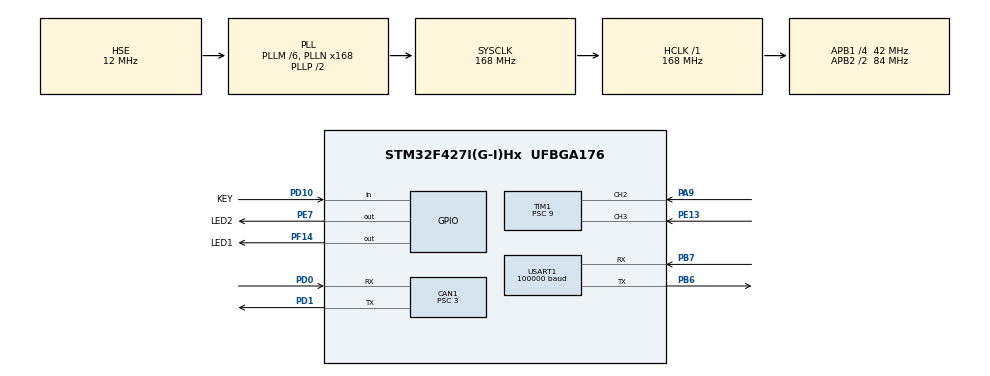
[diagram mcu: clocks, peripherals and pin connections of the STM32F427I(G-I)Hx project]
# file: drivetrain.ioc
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<<<<<<< HEAD
CAN1.ABOM=ENABLE
CAN1.BS1=CAN_BS1_9TQ
CAN1.BS2=CAN_BS2_4TQ
CAN1.CalculateBaudRate=1000000
CAN1.CalculateTimeBit=1000
CAN1.CalculateTimeQuantum=71.42857142857143
CAN1.Prescaler=3
CAN1.SJW=CAN_SJW_1TQ
Dma.Request0=USART1_RX
Dma.Request1=TIM1_CH1/CH2/CH3
Dma.TIM1_CH1/CH2/CH3.1.Direction=DMA_PERIPH_TO_MEMORY
Dma.TIM1_CH1/CH2/CH3.1.FIFOMode=DMA_FIFOMODE_DISABLE
Dma.TIM1_CH1/CH2/CH3.1.Instance=DMA2_Stream6
Dma.TIM1_CH1/CH2/CH3.1.MemDataAlignment=DMA_MDATAALIGN_HALFWORD
Dma.TIM1_CH1/CH2/CH3.1.MemInc=DMA_MINC_ENABLE
Dma.TIM1_CH1/CH2/CH3.1.Mode=DMA_CIRCULAR
Dma.TIM1_CH1/CH2/CH3.1.PeriphDataAlignment=DMA_PDATAALIGN_HALFWORD
Dma.TIM1_CH1/CH2/CH3.1.PeriphInc=DMA_PINC_DISABLE
Dma.TIM1_CH1/CH2/CH3.1.Priority=DMA_PRIORITY_LOW
Dma.USART1_RX.0.Direction=DMA_PERIPH_TO_MEMORY
Dma.USART1_RX.0.FIFOMode=DMA_FIFOMODE_DISABLE
Dma.USART1_RX.0.Instance=DMA2_Stream2
Dma.USART1_RX.0.MemDataAlignment=DMA_MDATAALIGN_BYTE
Dma.USART1_RX.0.MemInc=DMA_MINC_ENABLE
Dma.USART1_RX.0.Mode=DMA_NORMAL
Dma.USART1_RX.0.PeriphDataAlignment=DMA_PDATAALIGN_BYTE
Dma.USART1_RX.0.PeriphInc=DMA_PINC_DISABLE
Dma.USART1_RX.0.Priority=DMA_PRIORITY_LOW
Mcu.Family=STM32F4
Mcu.Name=STM32F427I(G-I)Hx
Mcu.Package=UFBGA176
NVIC.CAN1_RX0_IRQn=true\:0\:0\:false\:false\:true\:true\:true\:true
NVIC.CAN1_TX_IRQn=true\:0\:0\:false\:false\:true\:true\:true\:true
NVIC.DMA2_Stream2_IRQn=true\:0\:0\:false\:false\:true\:true\:true\:true
NVIC.DMA2_Stream6_IRQn=true\:0\:0\:false\:false\:true\:false\:true\:true
NVIC.PriorityGroup=NVIC_PRIORITYGROUP_4
NVIC.TIM6_DAC_IRQn=true\:0\:0\:false\:false\:true\:true\:true\:true
NVIC.TimeBase=TIM6_DAC_IRQn
NVIC.TimeBaseIP=TIM6
NVIC.USART1_IRQn=true\:0\:0\:false\:false\:true\:true\:true\:true
PA13.Mode=Serial_Wire
PA13.Signal=SYS_JTMS-SWDIO
PA14.Mode=Serial_Wire
PA14.Signal=SYS_JTCK-SWCLK
PA9.Signal=S_TIM1_CH2
PB6.Mode=Asynchronous
PB6.Signal=USART1_TX
PB7.Mode=Asynchronous
PB7.Signal=USART1_RX
PD0.Mode=CAN_Activate
PD0.Signal=CAN1_RX
PD1.Mode=CAN_Activate
PD1.Signal=CAN1_TX
PD10.GPIO_Label=KEY
PD10.Signal=GPIO_Input
PE13.Signal=S_TIM1_CH3
PE7.GPIO_Label=LED2
PE7.Signal=GPIO_Output
PF14.GPIO_Label=LED1
PF14.Signal=GPIO_Output
PH0/OSC_IN.Mode=HSE-External-Oscillator
PH0/OSC_IN.Signal=RCC_OSC_IN
PH1/OSC_OUT.Mode=HSE-External-Oscillator
PH1/OSC_OUT.Signal=RCC_OSC_OUT
ProjectManager.HeapSize=0x200
ProjectManager.StackSize=0x400
ProjectManager.TargetToolchain=STM32CubeIDE
RCC.48MHZClocksFreq_Value=84000000
RCC.AHBFreq_Value=168000000
RCC.APB1CLKDivider=RCC_HCLK_DIV4
RCC.APB1Freq_Value=42000000
RCC.APB1TimFreq_Value=84000000
RCC.APB2CLKDivider=RCC_HCLK_DIV2
RCC.APB2Freq_Value=84000000
RCC.APB2TimFreq_Value=168000000
RCC.CortexFreq_Value=168000000
RCC.HCLKFreq_Value=168000000
RCC.HSE_VALUE=12000000
RCC.HSI_VALUE=16000000
RCC.LSE_VALUE=32768
RCC.PLLM=6
RCC.PLLN=168
RCC.PLLSourceVirtual=RCC_PLLSOURCE_HSE
RCC.SYSCLKFreq_VALUE=168000000
RCC.SYSCLKSource=RCC_SYSCLKSOURCE_PLLCLK
RCC.VCOOutputFreq_Value=336000000
SH.S_TIM1_CH2.0=TIM1_CH2,Input_Capture2_from_TI2
SH.S_TIM1_CH2.1=TIM1_CH2,Input_Capture1_from_TI2
SH.S_TIM1_CH3.0=TIM1_CH3,Input_Capture3_from_TI3
SH.S_TIM1_CH3.1=TIM1_CH3,Input_Capture4_from_TI3
TIM1.Channel-Input_Capture1_from_TI2=TIM_CHANNEL_1
TIM1.Channel-Input_Capture2_from_TI2=TIM_CHANNEL_2
TIM1.Channel-Input_Capture3_from_TI3=TIM_CHANNEL_3
TIM1.Channel-Input_Capture4_from_TI3=TIM_CHANNEL_4
TIM1.ICPolarity_CH2=TIM_INPUTCHANNELPOLARITY_BOTHEDGE
TIM1.Period=9999
TIM1.Prescaler=9
USART1.BaudRate=100000
USART1.Parity=PARITY_EVEN
USART1.VirtualMode=VM_ASYNC
VP_SYS_VS_tim6.Mode=TIM6
board=demo
=======
CAN1.ABOM=ENABLE
CAN1.BS1=CAN_BS1_9TQ
CAN1.BS2=CAN_BS2_4TQ
CAN1.CalculateBaudRate=1000000
CAN1.CalculateTimeBit=1000
CAN1.CalculateTimeQuantum=71.42857142857143
CAN1.Prescaler=3
CAN1.SJW=CAN_SJW_1TQ
Dma.Request0=USART1_RX
Dma.Request1=TIM1_CH1/CH2/CH3
Dma.TIM1_CH1/CH2/CH3.1.Direction=DMA_PERIPH_TO_MEMORY
Dma.TIM1_CH1/CH2/CH3.1.FIFOMode=DMA_FIFOMODE_DISABLE
Dma.TIM1_CH1/CH2/CH3.1.Instance=DMA2_Stream6
Dma.TIM1_CH1/CH2/CH3.1.MemDataAlignment=DMA_MDATAALIGN_HALFWORD
Dma.TIM1_CH1/CH2/CH3.1.MemInc=DMA_MINC_ENABLE
Dma.TIM1_CH1/CH2/CH3.1.Mode=DMA_CIRCULAR
Dma.TIM1_CH1/CH2/CH3.1.PeriphDataAlignment=DMA_PDATAALIGN_HALFWORD
Dma.TIM1_CH1/CH2/CH3.1.PeriphInc=DMA_PINC_DISABLE
Dma.TIM1_CH1/CH2/CH3.1.Priority=DMA_PRIORITY_LOW
Dma.USART1_RX.0.Direction=DMA_PERIPH_TO_MEMORY
Dma.USART1_RX.0.FIFOMode=DMA_FIFOMODE_DISABLE
Dma.USART1_RX.0.Instance=DMA2_Stream2
Dma.USART1_RX.0.MemDataAlignment=DMA_MDATAALIGN_BYTE
Dma.USART1_RX.0.MemInc=DMA_MINC_ENABLE
Dma.USART1_RX.0.Mode=DMA_NORMAL
Dma.USART1_RX.0.PeriphDataAlignment=DMA_PDATAALIGN_BYTE
Dma.USART1_RX.0.PeriphInc=DMA_PINC_DISABLE
Dma.USART1_RX.0.Priority=DMA_PRIORITY_LOW
Mcu.Family=STM32F4
Mcu.Name=STM32F427I(G-I)Hx
Mcu.Package=UFBGA176
NVIC.CAN1_RX0_IRQn=true\:0\:0\:false\:false\:true\:true\:true\:true
NVIC.CAN1_TX_IRQn=true\:0\:0\:false\:false\:true\:true\:true\:true
NVIC.DMA2_Stream2_IRQn=true\:0\:0\:false\:false\:true\:true\:true\:true
NVIC.DMA2_Stream6_IRQn=true\:0\:0\:false\:false\:true\:false\:true\:true
NVIC.PriorityGroup=NVIC_PRIORITYGROUP_4
NVIC.TIM6_DAC_IRQn=true\:0\:0\:false\:false\:true\:true\:true\:true
NVIC.TimeBase=TIM6_DAC_IRQn
NVIC.TimeBaseIP=TIM6
NVIC.USART1_IRQn=true\:0\:0\:false\:false\:true\:true\:true\:true
PA13.Mode=Serial_Wire
PA13.Signal=SYS_JTMS-SWDIO
PA14.Mode=Serial_Wire
PA14.Signal=SYS_JTCK-SWCLK
PA9.Signal=S_TIM1_CH2
PB6.Mode=Asynchronous
PB6.Signal=USART1_TX
PB7.Mode=Asynchronous
PB7.Signal=USART1_RX
PD0.Mode=CAN_Activate
PD0.Signal=CAN1_RX
PD1.Mode=CAN_Activate
PD1.Signal=CAN1_TX
PD10.GPIO_Label=KEY
PD10.Signal=GPIO_Input
PE13.Signal=S_TIM1_CH3
PE7.GPIO_Label=LED2
PE7.Signal=GPIO_Output
PF14.GPIO_Label=LED1
PF14.Signal=GPIO_Output
PH0/OSC_IN.Mode=HSE-External-Oscillator
PH0/OSC_IN.Signal=RCC_OSC_IN
PH1/OSC_OUT.Mode=HSE-External-Oscillator
PH1/OSC_OUT.Signal=RCC_OSC_OUT
ProjectManager.HeapSize=0x200
ProjectManager.StackSize=0x400
ProjectManager.TargetToolchain=STM32CubeIDE
RCC.48MHZClocksFreq_Value=84000000
RCC.AHBFreq_Value=168000000
RCC.APB1CLKDivider=RCC_HCLK_DIV4
RCC.APB1Freq_Value=42000000
RCC.APB1TimFreq_Value=84000000
RCC.APB2CLKDivider=RCC_HCLK_DIV2
RCC.APB2Freq_Value=84000000
RCC.APB2TimFreq_Value=168000000
RCC.CortexFreq_Value=168000000
RCC.HCLKFreq_Value=168000000
RCC.HSE_VALUE=12000000
RCC.HSI_VALUE=16000000
RCC.LSE_VALUE=32768
RCC.PLLM=6
RCC.PLLN=168
RCC.PLLSourceVirtual=RCC_PLLSOURCE_HSE
RCC.SYSCLKFreq_VALUE=168000000
RCC.SYSCLKSource=RCC_SYSCLKSOURCE_PLLCLK
RCC.VCOOutputFreq_Value=336000000
SH.S_TIM1_CH2.0=TIM1_CH2,Input_Capture2_from_TI2
SH.S_TIM1_CH2.1=TIM1_CH2,Input_Capture1_from_TI2
SH.S_TIM1_CH3.0=TIM1_CH3,Input_Capture3_from_TI3
SH.S_TIM1_CH3.1=TIM1_CH3,Input_Capture4_from_TI3
TIM1.Channel-Input_Capture1_from_TI2=TIM_CHANNEL_1
TIM1.Channel-Input_Capture2_from_TI2=TIM_CHANNEL_2
TIM1.Channel-Input_Capture3_from_TI3=TIM_CHANNEL_3
TIM1.Channel-Input_Capture4_from_TI3=TIM_CHANNEL_4
TIM1.ICPolarity_CH2=TIM_INPUTCHANNELPOLARITY_BOTHEDGE
TIM1.Period=9999
TIM1.Prescaler=9
USART1.BaudRate=100000
USART1.Parity=PARITY_EVEN
USART1.VirtualMode=VM_ASYNC
VP_SYS_VS_tim6.Mode=TIM6
board=demo
>>>>>>> a7ea5d2464253c82df36c7748f10e598f83178ba

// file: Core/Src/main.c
/* USER CODE BEGIN Header */
/**
  ******************************************************************************
  * @file           : main.c
  * @brief          : Main program body
  ******************************************************************************
  * @attention
  *
  * Copyright (c) 2023 STMicroelectronics.
  * All rights reserved.
  *
  * This software is licensed under terms that can be found in the LICENSE file
  * in the root directory of this software component.
  * If no LICENSE file comes with this software, it is provided AS-IS.
  *
  ******************************************************************************
  */
/* USER CODE END Header */
#include "main.h"
#include "can.h"
#include "dma.h"
#include "tim.h"
#include "usart.h"
#include "gpio.h"

/* USER CODE BEGIN PV */
CAN_TxHeaderTypeDef TxHeader;
CAN_RxHeaderTypeDef RxHeader;

uint32_t TxMailbox;

uint8_t TxData[8];
uint8_t RxData[8];

int datacheck = 0;
/* USER CODE END PV */

void SystemClock_Config(void);

/* USER CODE BEGIN 0 */

void HAL_CAN_TxMailbox0CompleteCallback(CAN_HandleTypeDef *hcan){

}

void HAL_CAN_RxFifoMsgPendingCallback(CAN_HandleTypeDef *hcan){
	HAL_CAN_GetRxMessage(hcan, CAN_RX_FIFO0, &RxHeader, RxData);
	if (RxHeader.DLC == 8){
		datacheck = 1;
	}
}
/* USER CODE END 0 */

int main(void)
{

  /* MCU Configuration--------------------------------------------------------*/

  /* Reset of all peripherals, Initializes the Flash interface and the Systick. */
  HAL_Init();

  /* Configure the system clock */
  SystemClock_Config();

  /* Initialize all configured peripherals */
  MX_GPIO_Init();
  MX_DMA_Init();
  MX_CAN1_Init();
  MX_USART1_UART_Init();
  MX_TIM1_Init();
  /* USER CODE BEGIN 2 */
  //can_filter_init(&hcan1);
  if (HAL_CAN_Start(&hcan1) != HAL_OK)
  {
     Error_Handler();
  }

  if (HAL_CAN_ActivateNotification(&hcan1, CAN_IT_RX_FIFO0_MSG_PENDING | CAN_IT_TX_MAILBOX_EMPTY)!= HAL_OK){
	  Error_Handler();
  }

  TxHeader.DLC = 8; // length of the message
  TxHeader.IDE = CAN_ID_STD; //Standard (STD) or Extended (EXT)
  TxHeader.RTR = CAN_RTR_DATA; // specifices if we are sending data or remote frame. idk what that is.
  //TxHeader.ExtId = 0x01; // the message I think???
  TxHeader.StdId = 0x200; // can be 11bit wide, serves as the id for the can bus device
  TxHeader.TransmitGlobalTime = DISABLE; // *shrug*, disabled

     // ------------ MESSAGE TWO -----------------------------//
   //
   //  TxHeader.DLC = 1; // length of the message
   //  TxHeader.ExtId = 0; // the message I think???
   //  TxHeader.IDE = CAN_ID_STD; //Standard (STD) or Extended (EXT)
   //  TxHeader.RTR = CAN_RTR_DATA; // specifices if we are sending data or remote frame. idk what that is.
   //  TxHeader.StdId = 0x1FF; // can be 11bit wide, serves as the id for the can bus device
   //  TxHeader.TransmitGlobalTime = DISABLE; // *shrug*, disabled
   //  TxData[0] = 0xf3;
   //  HAL_CAN_AddTxMessage(&hcan, &TxHeader, TxData, &TxMailbox);
    /* USER CODE END 2 */

    //TxData[0] = 200;	 // 8 bits?
    //HAL_CAN_AddTxMessage(&hcan1, &TxHeader, TxData, &TxMailbox);

   TxData[0] = 0b0001111101000000 >> 8;	 // 8 bits?
   TxData[1] = 0b0001111101000000;
   TxData[2] = 0b0001111101000000 >> 8;
   TxData[3] = 0b0001111101000000;  //to avoid the compiler putting in garbage bits
   TxData[4] = 0b0001111101000000 >> 8;
   TxData[5] = 0b0001111101000000;
   TxData[6] = 0b0001111101000000 >> 8;
   TxData[7] = 0b0001111101000000;

   HAL_GPIO_TogglePin(Motor_Port, Motor1_Pin);
   HAL_GPIO_TogglePin(Motor_Port, Motor2_Pin);
   HAL_GPIO_TogglePin(Motor_Port, Motor3_Pin);
   HAL_GPIO_TogglePin(Motor_Port, Motor4_Pin);

   /* Infinite loop */
  /* USER CODE BEGIN WHILE */
  while (1)
  {
	if(HAL_CAN_GetTxMailboxesFreeLevel(&hcan1) > 0){
		if (HAL_CAN_AddTxMessage(&hcan1, &TxHeader, TxData, &TxMailbox) != HAL_OK)
	  	{
			Error_Handler ();
	  		HAL_GPIO_TogglePin(LED2_GPIO_Port, LED2_Pin);
	  	}
	  	else{
	  		HAL_GPIO_TogglePin(LED1_GPIO_Port, LED1_Pin);
	  	}
	  }
	  else{
	  	HAL_GPIO_TogglePin(LED2_GPIO_Port, LED2_Pin);
	}
	HAL_Delay(500);
    /* USER CODE END WHILE */
	//HAL_GPIO_TogglePin(Motor_Port, Motor1_Pin);
	//HAL_GPIO_TogglePin(Motor_Port, Motor2_Pin);
	//HAL_GPIO_TogglePin(Motor_Port, Motor3_Pin);
	//HAL_GPIO_TogglePin(Motor_Port, Motor4_Pin);
	//HAL_GPIO_TogglePin(CAN_Port, CAN1_Pin1);
	//HAL_GPIO_TogglePin(CAN_Port, CAN1_Pin2);
  }
}

void SystemClock_Config(void)
{
  RCC_OscInitTypeDef RCC_OscInitStruct = {0};
  RCC_ClkInitTypeDef RCC_ClkInitStruct = {0};

  /** Configure the main internal regulator output voltage
  */
  __HAL_RCC_PWR_CLK_ENABLE();
  __HAL_PWR_VOLTAGESCALING_CONFIG(PWR_REGULATOR_VOLTAGE_SCALE1);

  /** Initializes the RCC Oscillators according to the specified parameters
  * in the RCC_OscInitTypeDef structure.
  */
  RCC_OscInitStruct.OscillatorType = RCC_OSCILLATORTYPE_HSE;
  RCC_OscInitStruct.HSEState = RCC_HSE_ON;
  RCC_OscInitStruct.PLL.PLLState = RCC_PLL_ON;
  RCC_OscInitStruct.PLL.PLLSource = RCC_PLLSOURCE_HSE;
  RCC_OscInitStruct.PLL.PLLM = 6;
  RCC_OscInitStruct.PLL.PLLN = 168;
  RCC_OscInitStruct.PLL.PLLP = RCC_PLLP_DIV2;
  RCC_OscInitStruct.PLL.PLLQ = 4;
  if (HAL_RCC_OscConfig(&RCC_OscInitStruct) != HAL_OK)
  {
    Error_Handler();
  }

  /** Initializes the CPU, AHB and APB buses clocks
  */
  RCC_ClkInitStruct.ClockType = RCC_CLOCKTYPE_HCLK|RCC_CLOCKTYPE_SYSCLK
                              |RCC_CLOCKTYPE_PCLK1|RCC_CLOCKTYPE_PCLK2;
  RCC_ClkInitStruct.SYSCLKSource = RCC_SYSCLKSOURCE_PLLCLK;
  RCC_ClkInitStruct.AHBCLKDivider = RCC_SYSCLK_DIV1;
  RCC_ClkInitStruct.APB1CLKDivider = RCC_HCLK_DIV4;
  RCC_ClkInitStruct.APB2CLKDivider = RCC_HCLK_DIV2;

  if (HAL_RCC_ClockConfig(&RCC_ClkInitStruct, FLASH_LATENCY_5) != HAL_OK)
  {
    Error_Handler();
  }
}

void HAL_TIM_PeriodElapsedCallback(TIM_HandleTypeDef *htim)
{
  if (htim->Instance == TIM6) {
    HAL_IncTick();
  }
}

void Error_Handler(void)
{
  __disable_irq();
  while (1)
  {
  }
}
